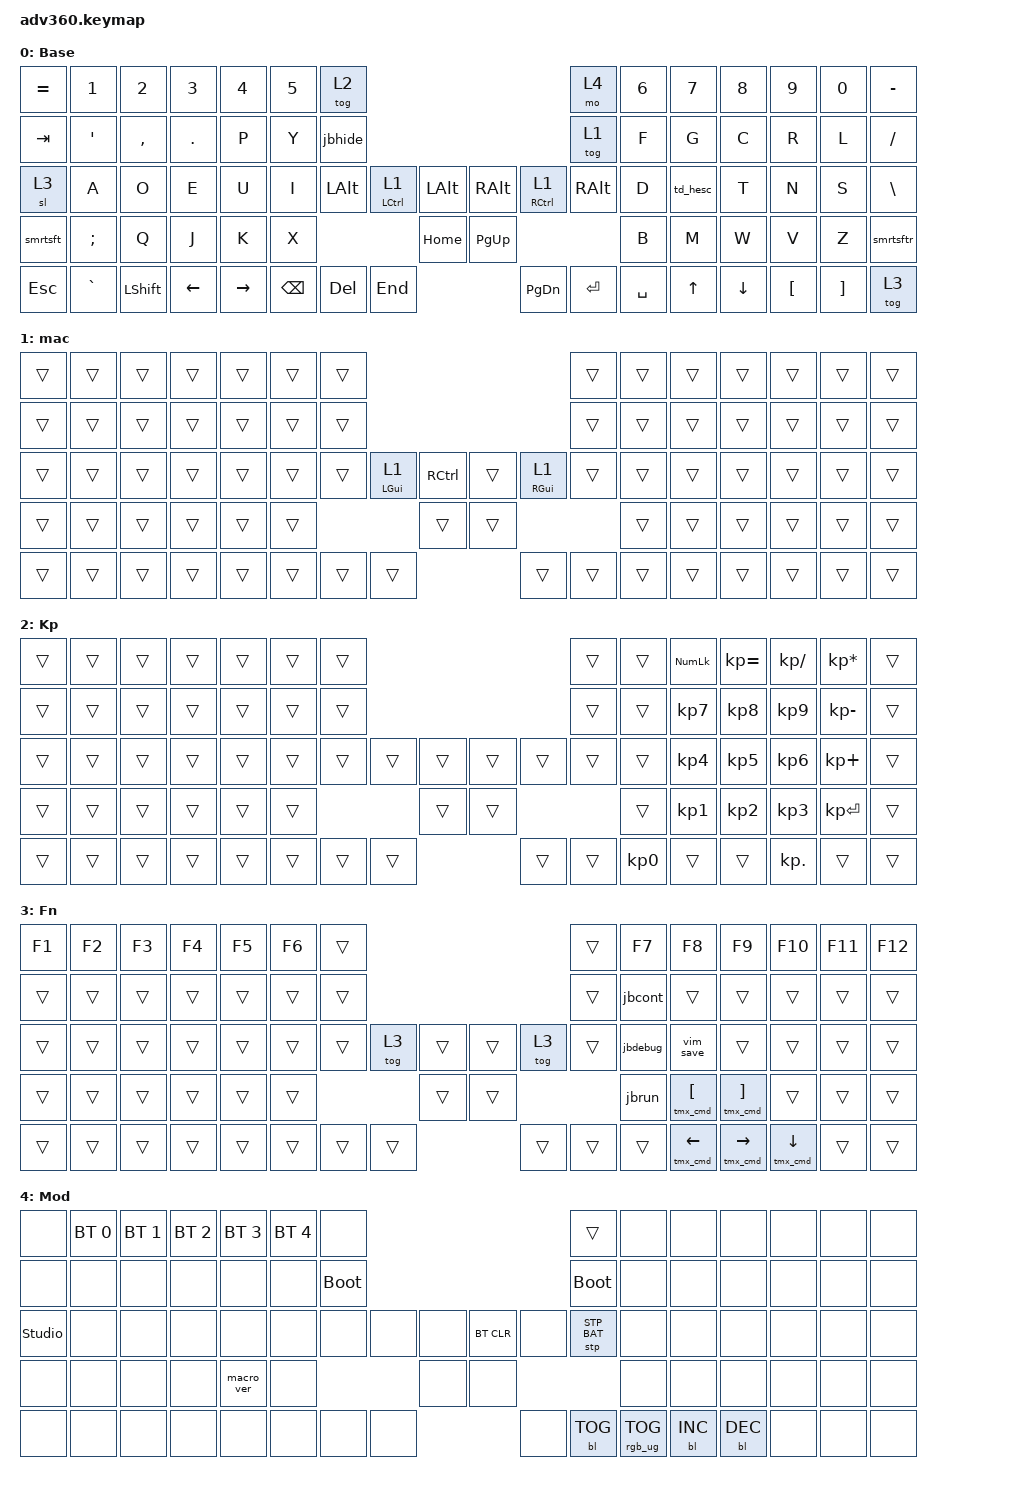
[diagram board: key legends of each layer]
#include <behaviors.dtsi>
#include <dt-bindings/zmk/keys.h>
#include <dt-bindings/zmk/bt.h>
#include <dt-bindings/zmk/rgb.h>
#include <dt-bindings/zmk/stp.h>
#include <dt-bindings/zmk/backlight.h>
#include <dt-bindings/zmk/pointing.h>

/ {
    macros {
        vim_save: vim_save {
            compatible = "zmk,behavior-macro";
            #binding-cells = <0>;
            bindings = <&kp ESC &kp COLON &kp W &kp RET> ;
        };
        tmx_cmd: tmx_cmd {
            compatible = "zmk,behavior-macro-one-param";
            #binding-cells = <1>;
            bindings
                = <&macro_press &kp RCTRL>
                , <&macro_tap &kp K>
                , <&macro_release &kp RCTRL>
                , <&macro_param_1to1>
                , <&macro_tap &kp MACRO_PLACEHOLDER>;
        };
        jbhide: jbhide {
            compatible = "zmk,behavior-macro";
            #binding-cells = <0>;
            bindings
                = <&macro_press &kp LGUI>
                , <&macro_press &kp LSHFT>
                , <&macro_tap &kp F12>
                , <&macro_release &kp LSHFT>
                , <&macro_release &kp LGUI>;
        };
        jbcont: jbcont {
            compatible = "zmk,behavior-macro";
            #binding-cells = <0>;
            bindings
                = <&macro_press &kp RGUI>
                , <&macro_press &kp RALT>
                , <&macro_tap &kp R>
                , <&macro_release &kp RALT>
                , <&macro_release &kp RGUI>;
        };
        jbdebug: jbdebug {
            compatible = "zmk,behavior-macro";
            #binding-cells = <0>;
            bindings
                = <&macro_press &kp RGUI>
                , <&macro_press &kp RCTRL>
                , <&macro_press &kp RALT>
                , <&macro_tap &kp D>
                , <&macro_release &kp RALT>
                , <&macro_release &kp RCTRL>
                , <&macro_release &kp RGUI>;
        };
        jbrun: jbrun {
            compatible = "zmk,behavior-macro";
            #binding-cells = <0>;
            bindings
                = <&macro_press &kp RGUI>
                , <&macro_press &kp RCTRL>
                , <&macro_press &kp RALT>
                , <&macro_tap &kp B>
                , <&macro_release &kp RALT>
                , <&macro_release &kp RCTRL>
                , <&macro_release &kp RGUI>;
        };
    };

    behaviors {
      #include "version.dtsi"

      mac_tog: behavior_mac_tog {
          compatible = "zmk,behavior-hold-tap";
          #binding-cells = <2>;
          flavor = "hold-preferred";
          tapping-term-ms = <200>;
          bindings = <&kp>, <&tog>;
      };
      smrtsft: smart_shft {
          compatible = "zmk,behavior-mod-morph";
          #binding-cells = <0>;
          bindings = <&sk LSHFT>, <&caps_word>;
          mods = <(MOD_LSFT|MOD_RSFT)>;
      };
      smrtsftr: smart_shftr {
          compatible = "zmk,behavior-mod-morph";
          #binding-cells = <0>;
          bindings = <&sk RSHFT>, <&caps_word>;
          mods = <(MOD_LSFT|MOD_RSFT)>;
      };
      td_hesc: tap_dance_mod_tap {
            compatible = "zmk,behavior-tap-dance";
            #binding-cells = <0>;
            tapping-term-ms = <200>;
            bindings = <&kp H>, <&kp ESC>;
        };
    };

  keymap {
    compatible = "zmk,keymap";

    default_layer {
      display-name = "Base";
      bindings = <
        &kp EQUAL &kp N1    &kp N2     &kp N3   &kp N4     &kp N5 &tog 2                                                           &mo 4    &kp N6 &kp N7   &kp N8    &kp N9   &kp N0   &kp MINUS
        &kp TAB   &kp SQT   &kp COMMA  &kp DOT  &kp P      &kp Y  &jbhide                                                          &tog 1   &kp F  &kp G    &kp C     &kp R    &kp L    &kp FSLH
        &sl 3     &kp A     &kp O      &kp E    &kp U      &kp I  &kp LALT  &mac_tog LCTRL 1 &kp LALT &kp RALT  &mac_tog RCTRL 1   &kp RALT &kp D  &td_hesc &kp T     &kp N    &kp S    &kp BSLH
        &smrtsft  &kp SEMI  &kp Q      &kp J    &kp K      &kp X                             &kp HOME &kp PG_UP                             &kp B  &kp M    &kp W     &kp V    &kp Z    &smrtsftr
        &kp ESC   &kp GRAVE &kp LSHFT  &kp LEFT &kp RIGHT                 &kp BSPC &kp DEL   &kp END  &kp PG_DN &kp ENTER &kp SPACE                &kp UP   &kp DOWN  &kp LBKT &kp RBKT &tog 3
      >;
    };
    mac {
      bindings = <
        &trans &trans &trans &trans &trans &trans &trans                                                   &trans &trans &trans &trans &trans &trans &trans
        &trans &trans &trans &trans &trans &trans &trans                                                   &trans &trans &trans &trans &trans &trans &trans
        &trans &trans &trans &trans &trans &trans &trans &mac_tog LGUI 1 &kp RCTRL &trans &mac_tog RGUI 1  &trans &trans &trans &trans &trans &trans &trans
        &trans &trans &trans &trans &trans &trans                        &trans    &trans                         &trans &trans &trans &trans &trans &trans
        &trans &trans &trans &trans &trans               &trans &trans   &trans    &trans    &trans &trans               &trans &trans &trans &trans &trans
      >;
    };
    keypad {
      display-name = "Kp";
      bindings = <
        &trans &trans &trans &trans &trans &trans &trans                                               &trans &trans &kp KP_NUM &kp KP_EQUAL &kp KP_DIVIDE &kp KP_MULTIPLY &trans
        &trans &trans &trans &trans &trans &trans &trans                                               &trans &trans &kp KP_N7  &kp KP_N8    &kp KP_N9     &kp KP_MINUS    &trans
        &trans &trans &trans &trans &trans &trans &trans        &trans &trans &trans &trans            &trans &trans &kp KP_N4  &kp KP_N5    &kp KP_N6     &kp KP_PLUS     &trans
        &trans &trans &trans &trans &trans &trans                      &trans &trans                          &trans &kp KP_N1  &kp KP_N2    &kp KP_N3     &kp KP_ENTER    &trans
        &trans &trans &trans &trans &trans               &trans &trans &trans &trans &trans &kp KP_N0                &trans     &trans       &kp KP_DOT    &trans          &trans
      >;
    };
    fn {
      display-name = "Fn";
      bindings = <
        &kp F1 &kp F2 &kp F3 &kp F4 &kp F5 &kp F6 &trans                                           &trans &kp F7   &kp F8        &kp F9         &kp F10       &kp F11 &kp F12
        &trans &trans &trans &trans &trans &trans &trans                                           &trans &jbcont  &trans        &trans         &trans        &trans  &trans
        &trans &trans &trans &trans &trans &trans &trans        &tog 3 &trans &trans &tog 3        &trans &jbdebug &vim_save     &trans         &trans        &trans  &trans
        &trans &trans &trans &trans &trans &trans                      &trans &trans                      &jbrun   &tmx_cmd LBKT &tmx_cmd RBKT  &trans        &trans  &trans
        &trans &trans &trans &trans &trans               &trans &trans &trans &trans &trans &trans                 &tmx_cmd LEFT &tmx_cmd RIGHT &tmx_cmd DOWN &trans  &trans
      >;
    };
    mod {
      display-name = "Mod";
      bindings = <
        &none &bt BT_SEL 0 &bt BT_SEL 1 &bt BT_SEL 2 &bt BT_SEL 3 &bt BT_SEL 4 &none                                                                     &trans                 &none        &none        &none        &none &none &none
        &none &none        &none        &none        &none        &none        &bootloader                                                               &bootloader            &none        &none        &none        &none &none &none
        &studio_unlock &none        &none        &none        &none        &none        &none                   &none &none &bt BT_CLR &none                      &stp STP_BAT &none        &none        &none        &none &none &none
        &none &none        &none        &none        &macro_ver   &none                                      &none &none                                                        &none        &none        &none        &none &none &none
        &none &none        &none        &none        &none                                       &none &none &none &none      &bl BL_TOG &rgb_ug RGB_TOG                                     &bl BL_INC   &bl BL_DEC   &none &none &none
      >;
    };
    extra1 { 
      display-name = "Red";    
      status = "reserved";
    };

    extra2 { 
      display-name = "Purple";    
      status = "reserved";
    };

    extra3 { 
      display-name = "Cyan";    
      status = "reserved";
    };

    extra4 { 
      display-name = "Yellow";    
      status = "reserved";
    };
  };
};
